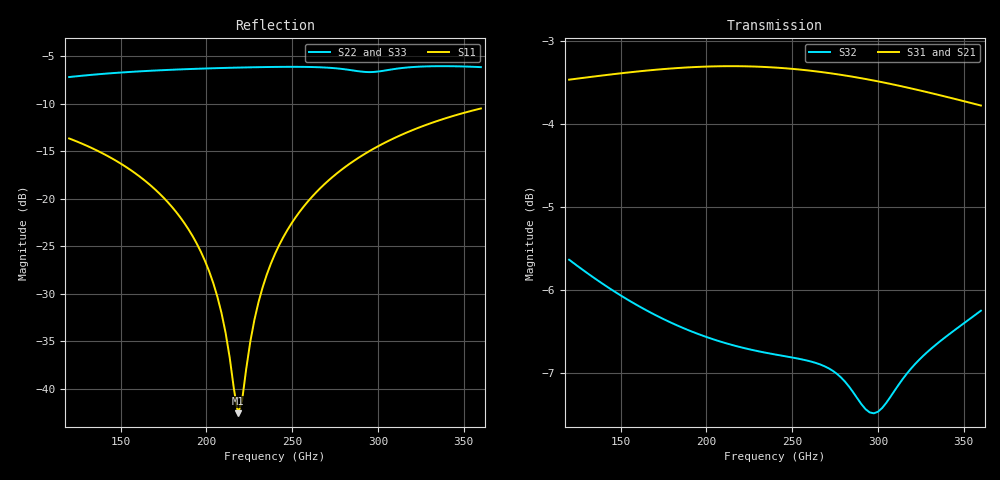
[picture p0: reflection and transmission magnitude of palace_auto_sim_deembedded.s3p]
! Created with skrf 1.11.0 (http://scikit-rf.org).
# GHz S DB R 50.0
!freq dBS11 angS11 dBS12 angS12 dBS13 angS13
! dBS21 angS21 dBS22 angS22 dBS23 angS23
! dBS31 angS31 dBS32 angS32 dBS33 angS33
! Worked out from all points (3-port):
!   101 points, 120 GHz to 360 GHz, reference 50 ohm
!   strongest paths, dB at 120 GHz, 180 GHz, 240 GHz, 300 GHz, 360 GHz:
!     S31: -3.5, -3.3, -3.3, -3.5, -3.8
!     S21: -3.5, -3.3, -3.3, -3.5, -3.8
!     S32: -5.6, -6.4, -6.8, -7.5, -6.2
!   lowest |S11| = -42.6 dB at 218.4 GHz (marker M1), VSWR 1.01, Z = 50.6 + j0.397 ohm
!   |S11| at or under -10 dB: start of sweep to end of sweep
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120  -13.65 142.1  -3.46 -41.8  -3.46 -41.8
     -3.46 -41.8  -7.19 52.5  -5.63 -99.1
     -3.46 -41.8  -5.63 -99.1  -7.20 52.5
160.8  -17.62 128.2  -3.36 -56.6  -3.36 -56.7
       -3.36 -56.6  -6.59 30.6  -6.19 -128.4
       -3.36 -56.7  -6.19 -128.4  -6.60 30.5
189.6  -23.22 116.1  -3.32 -67.4  -3.31 -67.4
       -3.32 -67.4  -6.35 17.7  -6.48 -148.5
       -3.31 -67.4  -6.48 -148.5  -6.36 17.6
206.4  -30.30 102.9  -3.30 -73.8  -3.30 -73.8
       -3.30 -73.8  -6.25 10.7  -6.61 -160.1
       -3.30 -73.8  -6.61 -160.1  -6.26 10.7
218.4  -42.58 31.8  -3.30 -78.3  -3.30 -78.4
       -3.30 -78.3  -6.19 5.9  -6.68 -168.4
       -3.30 -78.4  -6.68 -168.4  -6.20 5.9
230.4  -30.87 -56.1  -3.31 -82.9  -3.31 -82.9
       -3.31 -82.9  -6.15 1.2  -6.74 -176.7
       -3.31 -82.9  -6.74 -176.7  -6.16 1.2
240  -25.80 -65.9  -3.32 -86.6  -3.32 -86.6
     -3.32 -86.6  -6.12 -2.6  -6.77 176.6
     -3.32 -86.6  -6.77 176.6  -6.13 -2.6
256.8  -20.80 -74.9  -3.35 -93.0  -3.34 -93.0
       -3.35 -93.0  -6.12 -9.3  -6.84 164.7
       -3.34 -93.0  -6.84 164.7  -6.13 -9.3
283.2  -16.35 -85.3  -3.42 -103.0  -3.42 -103.0
       -3.42 -103.0  -6.44 -19.7  -7.16 145.7
       -3.42 -103.0  -7.16 145.7  -6.44 -19.8
360  -10.50 -110.3  -3.77 -131.1  -3.77 -131.2
     -3.77 -131.1  -6.15 -50.1  -6.25 97.3
     -3.77 -131.2  -6.25 97.3  -6.15 -50.2
